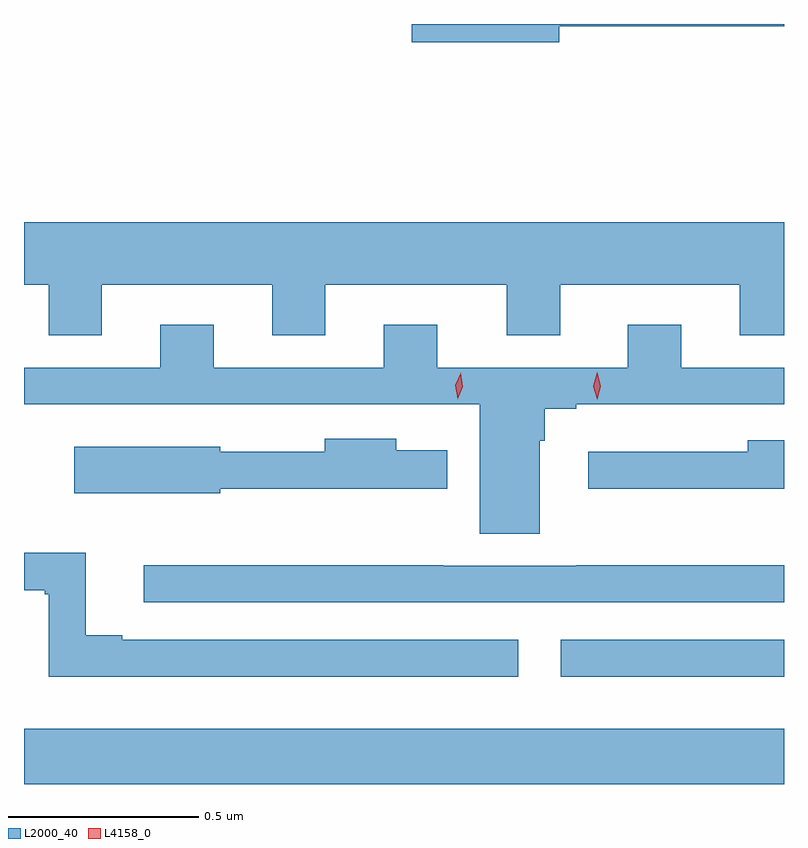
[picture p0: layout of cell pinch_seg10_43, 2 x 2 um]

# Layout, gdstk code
import gdstk
lib = gdstk.Library(unit=1e-6, precision=1e-09)
def R(c, l, rs):  # rectangles x0, y0, x1, y1
    for r in rs: c.add(gdstk.rectangle(r[:2], r[2:], *l))
def P(c, l, *ps):  # polygons
    for p in ps: c.add(gdstk.Polygon(p, *l))
L2000_40 = (2000, 40)
L4158_0 = (4158, 0)

pinch_seg10_43 = lib.new_cell('pinch_seg10_43')
R(pinch_seg10_43, L2000_40, [(897.138,1287.014,899.138,1287.16), (898.551,1287.296,899.138,1287.393)])
P(pinch_seg10_43, L2000_40, [(898.546,1289.008),(899.138,1289.008),(899.138,1289.014),(898.158,1289.014),(898.158,1288.966),(898.546,1288.966)],
  [(897.343,1288.328),(897.791,1288.328),(897.791,1288.195),(897.931,1288.195),(897.931,1288.328),(898.409,1288.328),(898.409,1288.195),(898.549,1288.195),(898.549,1288.328),(899.021,1288.328),(899.021,1288.195),(899.138,1288.195),(899.138,1288.492),(897.138,1288.492),(897.138,1288.328),(897.203,1288.328),(897.203,1288.195),(897.343,1288.195)],
  [(898.495,1287.917),(898.508,1287.917),(898.508,1288.002),(898.591,1288.002),(898.591,1288.014),(899.138,1288.014),(899.138,1288.11),(898.867,1288.11),(898.867,1288.222),(898.727,1288.222),(898.727,1288.11),(898.225,1288.11),(898.225,1288.222),(898.085,1288.222),(898.085,1288.11),(897.637,1288.11),(897.637,1288.222),(897.497,1288.222),(897.497,1288.11),(897.138,1288.11),(897.138,1288.014),(898.337,1288.014),(898.337,1287.673),(898.495,1287.673)],
  [(897.654,1287.791),(898.252,1287.791),(898.252,1287.892),(898.117,1287.892),(898.117,1287.922),(897.929,1287.922),(897.929,1287.888),(897.654,1287.888),(897.654,1287.901),(897.27,1287.901),(897.27,1287.779),(897.654,1287.779)],
  [(899.138,1287.919),(899.042,1287.919),(899.042,1287.888),(898.623,1287.888),(898.623,1287.791),(899.138,1287.791)],
  [(898.438,1287.393),(897.397,1287.393),(897.397,1287.406),(897.301,1287.406),(897.301,1287.622),(897.138,1287.622),(897.138,1287.524),(897.192,1287.524),(897.192,1287.513),(897.203,1287.513),(897.203,1287.296),(898.438,1287.296)],
  [(899.138,1287.59),(898.591,1287.59),(898.591,1287.588),(898.241,1287.588),(898.241,1287.59),(897.453,1287.59),(897.453,1287.492),(899.138,1287.492)])
P(pinch_seg10_43, L4158_0, [(898.646,1288.025),(898.646,1288.026),(898.636,1288.061),(898.646,1288.097),(898.646,1288.098),(898.646,1288.097),(898.656,1288.061),(898.646,1288.026)],
  [(898.279,1288.027),(898.279,1288.028),(898.273,1288.063),(898.287,1288.095),(898.287,1288.096),(898.287,1288.095),(898.293,1288.06),(898.279,1288.028)])

lib.write_gds('pinch_seg10_43.gds')
